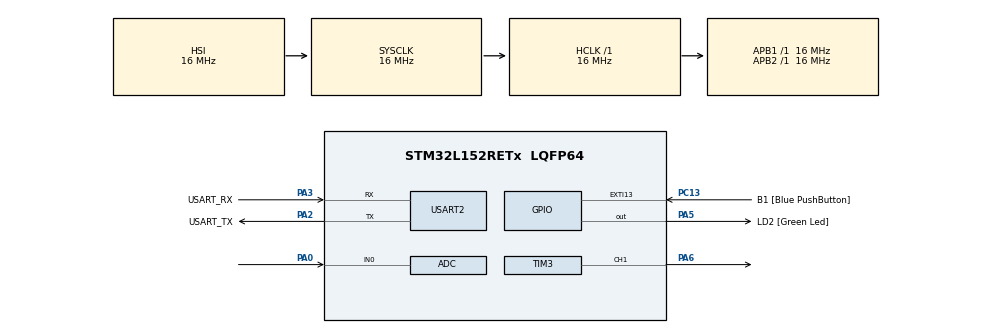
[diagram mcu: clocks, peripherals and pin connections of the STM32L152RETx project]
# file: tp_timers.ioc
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ADC.Channel-0\#ChannelRegularConversion=ADC_CHANNEL_0
ADC.NbrOfConversionFlag=1
ADC.Rank-0\#ChannelRegularConversion=1
ADC.SamplingTime-0\#ChannelRegularConversion=ADC_SAMPLETIME_4CYCLES
Mcu.Family=STM32L1
Mcu.Name=STM32L152RETx
Mcu.Package=LQFP64
NVIC.ADC1_IRQn=true\:0\:0\:false\:false\:true\:true\:true\:true
NVIC.PriorityGroup=NVIC_PRIORITYGROUP_0
NVIC.TIM2_IRQn=true\:0\:0\:false\:false\:true\:true\:true\:true
NVIC.TIM3_IRQn=true\:0\:0\:false\:false\:true\:true\:true\:true
PA0-WKUP1.Mode=IN0
PA0-WKUP1.Signal=ADC_IN0
PA13.GPIO_Label=TMS
PA13.Mode=Serial_Wire
PA13.Signal=SYS_JTMS-SWDIO
PA14.GPIO_Label=TCK
PA14.Mode=Serial_Wire
PA14.Signal=SYS_JTCK-SWCLK
PA2.GPIO_Label=USART_TX
PA2.Mode=Asynchronous
PA2.Signal=USART2_TX
PA3.GPIO_Label=USART_RX
PA3.Mode=Asynchronous
PA3.Signal=USART2_RX
PA5.GPIO_Label=LD2 [Green Led]
PA5.Signal=GPIO_Output
PA6.Signal=S_TIM3_CH1
PB3.GPIO_Label=SWO
PB3.Signal=SYS_JTDO-TRACESWO
PC13-WKUP2.GPIO_Label=B1 [Blue PushButton]
PC13-WKUP2.Signal=GPXTI13
PC14-OSC32_IN.Mode=LSE-External-Oscillator
PC14-OSC32_IN.Signal=RCC_OSC32_IN
PC15-OSC32_OUT.Mode=LSE-External-Oscillator
PC15-OSC32_OUT.Signal=RCC_OSC32_OUT
PH0-OSC_IN.Mode=HSE-External-Clock-Source
PH0-OSC_IN.Signal=RCC_OSC_IN
PH1-OSC_OUT.Signal=RCC_OSC_OUT
ProjectManager.HeapSize=0x200
ProjectManager.StackSize=0x400
ProjectManager.TargetToolchain=STM32CubeIDE
RCC.48MHZClocksFreq_Value=48000000
RCC.AHBFreq_Value=16000000
RCC.APB1Freq_Value=16000000
RCC.APB1TimFreq_Value=16000000
RCC.APB2Freq_Value=16000000
RCC.APB2TimFreq_Value=16000000
RCC.HCLKFreq_Value=16000000
RCC.HSE_VALUE=8000000
RCC.HSI_VALUE=16000000
RCC.MSI_VALUE=2097000
RCC.PLLDIV=RCC_PLL_DIV3
RCC.PLLMUL=RCC_PLL_MUL6
RCC.RTCClockSelectionVirtual=RCC_RTCCLKSOURCE_LSE
RCC.SYSCLKFreq_VALUE=16000000
RCC.SYSCLKSource=RCC_SYSCLKSOURCE_HSI
RCC.USBOutput=48000000
RCC.VCOOutputFreq_Value=96000000
SH.S_TIM3_CH1.0=TIM3_CH1,PWM Generation1 CH1
TIM2.Period=99
TIM2.Prescaler=15999
TIM3.Channel-PWM\ Generation1\ CH1=TIM_CHANNEL_1
TIM3.Prescaler=15
USART2.VirtualMode=VM_ASYNC
VP_TIM2_VS_ClockSourceINT.Mode=Internal
VP_TIM3_VS_ClockSourceINT.Mode=Internal
board=NUCLEO-L152RE

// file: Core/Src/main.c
/* USER CODE BEGIN Header */
/**
  ******************************************************************************
  * @file           : main.c
  * @brief          : Main program body
  ******************************************************************************
  * @attention
  *
  * Copyright (c) 2026 STMicroelectronics.
  * All rights reserved.
  *
  * This software is licensed under terms that can be found in the LICENSE file
  * in the root directory of this software component.
  * If no LICENSE file comes with this software, it is provided AS-IS.
  *
  ******************************************************************************
  */
/* USER CODE END Header */
#include "main.h"

ADC_HandleTypeDef hadc;

TIM_HandleTypeDef htim2;
TIM_HandleTypeDef htim3;

UART_HandleTypeDef huart2;

/* USER CODE BEGIN PV */
volatile uint8_t flag_tim2 = 0;
volatile uint8_t flag_adc = 0;
volatile uint16_t adc_value = 0;
/* USER CODE END PV */

void SystemClock_Config(void);
static void MX_GPIO_Init(void);
static void MX_USART2_UART_Init(void);
static void MX_TIM2_Init(void);
static void MX_ADC_Init(void);
static void MX_TIM3_Init(void);

int main(void)
{

  /* MCU Configuration--------------------------------------------------------*/

  /* Reset of all peripherals, Initializes the Flash interface and the Systick. */
  HAL_Init();

  /* Configure the system clock */
  SystemClock_Config();

  /* Initialize all configured peripherals */
  MX_GPIO_Init();
  MX_USART2_UART_Init();
  MX_TIM2_Init();
  MX_ADC_Init();
  MX_TIM3_Init();
  /* USER CODE BEGIN 2 */
  HAL_TIM_Base_Start_IT(&htim2);
  HAL_ADC_Start_IT(&hadc);

  /* USER CODE END 2 */

  /* Infinite loop */
  /* USER CODE BEGIN WHILE */
  while (1)
  {
	  if(flag_adc)
	      {

		  flag_adc = 0;
		  HAL_ADC_Start_IT(&hadc);

	      }

    /* USER CODE END WHILE */

  }
}

void SystemClock_Config(void)
{
  RCC_OscInitTypeDef RCC_OscInitStruct = {0};
  RCC_ClkInitTypeDef RCC_ClkInitStruct = {0};

  /** Configure the main internal regulator output voltage
  */
  __HAL_PWR_VOLTAGESCALING_CONFIG(PWR_REGULATOR_VOLTAGE_SCALE1);

  /** Initializes the RCC Oscillators according to the specified parameters
  * in the RCC_OscInitTypeDef structure.
  */
  RCC_OscInitStruct.OscillatorType = RCC_OSCILLATORTYPE_HSI;
  RCC_OscInitStruct.HSIState = RCC_HSI_ON;
  RCC_OscInitStruct.HSICalibrationValue = RCC_HSICALIBRATION_DEFAULT;
  RCC_OscInitStruct.PLL.PLLState = RCC_PLL_NONE;
  if (HAL_RCC_OscConfig(&RCC_OscInitStruct) != HAL_OK)
  {
    Error_Handler();
  }

  /** Initializes the CPU, AHB and APB buses clocks
  */
  RCC_ClkInitStruct.ClockType = RCC_CLOCKTYPE_HCLK|RCC_CLOCKTYPE_SYSCLK
                              |RCC_CLOCKTYPE_PCLK1|RCC_CLOCKTYPE_PCLK2;
  RCC_ClkInitStruct.SYSCLKSource = RCC_SYSCLKSOURCE_HSI;
  RCC_ClkInitStruct.AHBCLKDivider = RCC_SYSCLK_DIV1;
  RCC_ClkInitStruct.APB1CLKDivider = RCC_HCLK_DIV1;
  RCC_ClkInitStruct.APB2CLKDivider = RCC_HCLK_DIV1;

  if (HAL_RCC_ClockConfig(&RCC_ClkInitStruct, FLASH_LATENCY_0) != HAL_OK)
  {
    Error_Handler();
  }
}

static void MX_ADC_Init(void)
{

  ADC_ChannelConfTypeDef sConfig = {0};

  /** Configure the global features of the ADC (Clock, Resolution, Data Alignment and number of conversion)
  */
  hadc.Instance = ADC1;
  hadc.Init.ClockPrescaler = ADC_CLOCK_ASYNC_DIV1;
  hadc.Init.Resolution = ADC_RESOLUTION_12B;
  hadc.Init.DataAlign = ADC_DATAALIGN_RIGHT;
  hadc.Init.ScanConvMode = ADC_SCAN_DISABLE;
  hadc.Init.EOCSelection = ADC_EOC_SEQ_CONV;
  hadc.Init.LowPowerAutoWait = ADC_AUTOWAIT_DISABLE;
  hadc.Init.LowPowerAutoPowerOff = ADC_AUTOPOWEROFF_DISABLE;
  hadc.Init.ChannelsBank = ADC_CHANNELS_BANK_A;
  hadc.Init.ContinuousConvMode = DISABLE;
  hadc.Init.NbrOfConversion = 1;
  hadc.Init.DiscontinuousConvMode = DISABLE;
  hadc.Init.ExternalTrigConv = ADC_SOFTWARE_START;
  hadc.Init.ExternalTrigConvEdge = ADC_EXTERNALTRIGCONVEDGE_NONE;
  hadc.Init.DMAContinuousRequests = DISABLE;
  if (HAL_ADC_Init(&hadc) != HAL_OK)
  {
    Error_Handler();
  }

  /** Configure for the selected ADC regular channel its corresponding rank in the sequencer and its sample time.
  */
  sConfig.Channel = ADC_CHANNEL_0;
  sConfig.Rank = ADC_REGULAR_RANK_1;
  sConfig.SamplingTime = ADC_SAMPLETIME_4CYCLES;
  if (HAL_ADC_ConfigChannel(&hadc, &sConfig) != HAL_OK)
  {
    Error_Handler();
  }

}

static void MX_TIM2_Init(void)
{

  TIM_ClockConfigTypeDef sClockSourceConfig = {0};
  TIM_MasterConfigTypeDef sMasterConfig = {0};

  htim2.Instance = TIM2;
  htim2.Init.Prescaler = 15999;
  htim2.Init.CounterMode = TIM_COUNTERMODE_UP;
  htim2.Init.Period = 99;
  htim2.Init.ClockDivision = TIM_CLOCKDIVISION_DIV1;
  htim2.Init.AutoReloadPreload = TIM_AUTORELOAD_PRELOAD_DISABLE;
  if (HAL_TIM_Base_Init(&htim2) != HAL_OK)
  {
    Error_Handler();
  }
  sClockSourceConfig.ClockSource = TIM_CLOCKSOURCE_INTERNAL;
  if (HAL_TIM_ConfigClockSource(&htim2, &sClockSourceConfig) != HAL_OK)
  {
    Error_Handler();
  }
  sMasterConfig.MasterOutputTrigger = TIM_TRGO_RESET;
  sMasterConfig.MasterSlaveMode = TIM_MASTERSLAVEMODE_DISABLE;
  if (HAL_TIMEx_MasterConfigSynchronization(&htim2, &sMasterConfig) != HAL_OK)
  {
    Error_Handler();
  }

}

static void MX_TIM3_Init(void)
{

  TIM_ClockConfigTypeDef sClockSourceConfig = {0};
  TIM_MasterConfigTypeDef sMasterConfig = {0};
  TIM_OC_InitTypeDef sConfigOC = {0};

  htim3.Instance = TIM3;
  htim3.Init.Prescaler = 15;
  htim3.Init.CounterMode = TIM_COUNTERMODE_UP;
  htim3.Init.Period = 65535;
  htim3.Init.ClockDivision = TIM_CLOCKDIVISION_DIV1;
  htim3.Init.AutoReloadPreload = TIM_AUTORELOAD_PRELOAD_DISABLE;
  if (HAL_TIM_Base_Init(&htim3) != HAL_OK)
  {
    Error_Handler();
  }
  sClockSourceConfig.ClockSource = TIM_CLOCKSOURCE_INTERNAL;
  if (HAL_TIM_ConfigClockSource(&htim3, &sClockSourceConfig) != HAL_OK)
  {
    Error_Handler();
  }
  if (HAL_TIM_PWM_Init(&htim3) != HAL_OK)
  {
    Error_Handler();
  }
  sMasterConfig.MasterOutputTrigger = TIM_TRGO_RESET;
  sMasterConfig.MasterSlaveMode = TIM_MASTERSLAVEMODE_DISABLE;
  if (HAL_TIMEx_MasterConfigSynchronization(&htim3, &sMasterConfig) != HAL_OK)
  {
    Error_Handler();
  }
  sConfigOC.OCMode = TIM_OCMODE_PWM1;
  sConfigOC.Pulse = 0;
  sConfigOC.OCPolarity = TIM_OCPOLARITY_HIGH;
  sConfigOC.OCFastMode = TIM_OCFAST_DISABLE;
  if (HAL_TIM_PWM_ConfigChannel(&htim3, &sConfigOC, TIM_CHANNEL_1) != HAL_OK)
  {
    Error_Handler();
  }
  HAL_TIM_MspPostInit(&htim3);

}

static void MX_USART2_UART_Init(void)
{

  huart2.Instance = USART2;
  huart2.Init.BaudRate = 115200;
  huart2.Init.WordLength = UART_WORDLENGTH_8B;
  huart2.Init.StopBits = UART_STOPBITS_1;
  huart2.Init.Parity = UART_PARITY_NONE;
  huart2.Init.Mode = UART_MODE_TX_RX;
  huart2.Init.HwFlowCtl = UART_HWCONTROL_NONE;
  huart2.Init.OverSampling = UART_OVERSAMPLING_16;
  if (HAL_UART_Init(&huart2) != HAL_OK)
  {
    Error_Handler();
  }

}

static void MX_GPIO_Init(void)
{
  GPIO_InitTypeDef GPIO_InitStruct = {0};

  /* GPIO Ports Clock Enable */
  __HAL_RCC_GPIOC_CLK_ENABLE();
  __HAL_RCC_GPIOH_CLK_ENABLE();
  __HAL_RCC_GPIOA_CLK_ENABLE();
  __HAL_RCC_GPIOB_CLK_ENABLE();

  /*Configure GPIO pin Output Level */
  HAL_GPIO_WritePin(LD2_GPIO_Port, LD2_Pin, GPIO_PIN_RESET);

  /*Configure GPIO pin : B1_Pin */
  GPIO_InitStruct.Pin = B1_Pin;
  GPIO_InitStruct.Mode = GPIO_MODE_IT_RISING;
  GPIO_InitStruct.Pull = GPIO_NOPULL;
  HAL_GPIO_Init(B1_GPIO_Port, &GPIO_InitStruct);

  /*Configure GPIO pin : LD2_Pin */
  GPIO_InitStruct.Pin = LD2_Pin;
  GPIO_InitStruct.Mode = GPIO_MODE_OUTPUT_PP;
  GPIO_InitStruct.Pull = GPIO_NOPULL;
  GPIO_InitStruct.Speed = GPIO_SPEED_FREQ_LOW;
  HAL_GPIO_Init(LD2_GPIO_Port, &GPIO_InitStruct);

}

/* USER CODE BEGIN 4 */

void HAL_TIM_PeriodElapsedCallback(TIM_HandleTypeDef *htim)
{
	  if (htim->Instance == TIM2)
	  {
		  flag_tim2 = 1;
	  }

}

void HAL_ADC_ConvCpltCallback(ADC_HandleTypeDef* hadc)
{
    if(hadc->Instance == ADC1)
    {
        flag_adc = 1;
        adc_value = ADC1 -> DR ;

    }
}

/* USER CODE END 4 */

void Error_Handler(void)
{
  __disable_irq();
  while (1)
  {
  }
}
